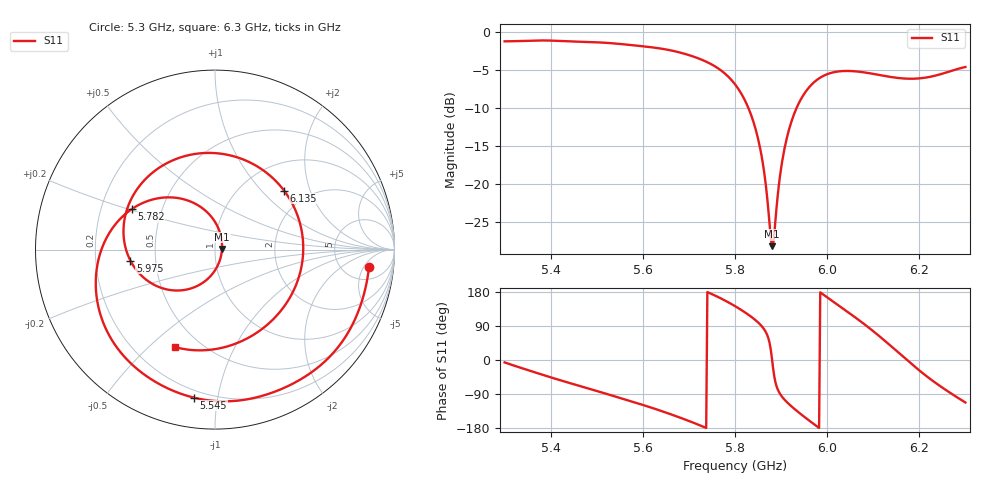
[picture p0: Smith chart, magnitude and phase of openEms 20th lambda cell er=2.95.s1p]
! Created with skrf 1.8.0 (http://scikit-rf.org).
# Hz S RI R 50.0
!freq ReS11 ImS11
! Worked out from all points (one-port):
!   401 points, 5.3 GHz to 6.3 GHz, reference 50 ohm
!   lowest |S11| = -28.1 dB at 5.88 GHz (marker M1), VSWR 1.08, Z = 54.1 + j0.423 ohm
!   |S11| at or under -10 dB: 5.829 GHz to 5.934 GHz (104.8 MHz wide, 1.78 % of centre)
!   S11 on the Smith chart (normalised r, x): 5.3 GHz: 9, -7; 5.545 GHz: 0.16, -0.85; 5.782 GHz: 0.33, +0.20; 5.975 GHz: 0.36, -0.06; 6.135 GHz: 1.53, +1.35; 6.3 GHz: 0.37, -0.61
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5.3e9  0.8581 -0.0953
5.36e9  0.7535 -0.4413
5.425e9  0.4978 -0.7103
5.4875e9  0.1901 -0.8322
5.545e9  -0.1179 -0.8247
5.55e9  -0.1438 -0.8178
5.6125e9  -0.4369 -0.6625
5.675e9  -0.6348 -0.3735
5.7325e9  -0.6443 -0.0364
5.7825e9  -0.4652 0.2247
5.8e9  -0.357 0.2766
5.8275e9  -0.1661 0.2782
5.85e9  -0.0319 0.1963
5.8625e9  0.0166 0.1234
5.88e9  0.0391 0.0039
5.885e9  0.0346 -0.0308
5.905e9  -0.0307 -0.1537
5.925e9  -0.1553 -0.222
5.9475e9  -0.3196 -0.2055
5.975e9  -0.4713 -0.0612
6.01e9  -0.4938 0.213
6.05e9  -0.2931 0.4676
6.0925e9  0.0623 0.5297
6.135e9  0.3851 0.3283
6.175e9  0.4911 -0.0173
6.205e9  0.4178 -0.2663
6.24e9  0.2237 -0.4689
6.3e9  -0.2207 -0.5434
